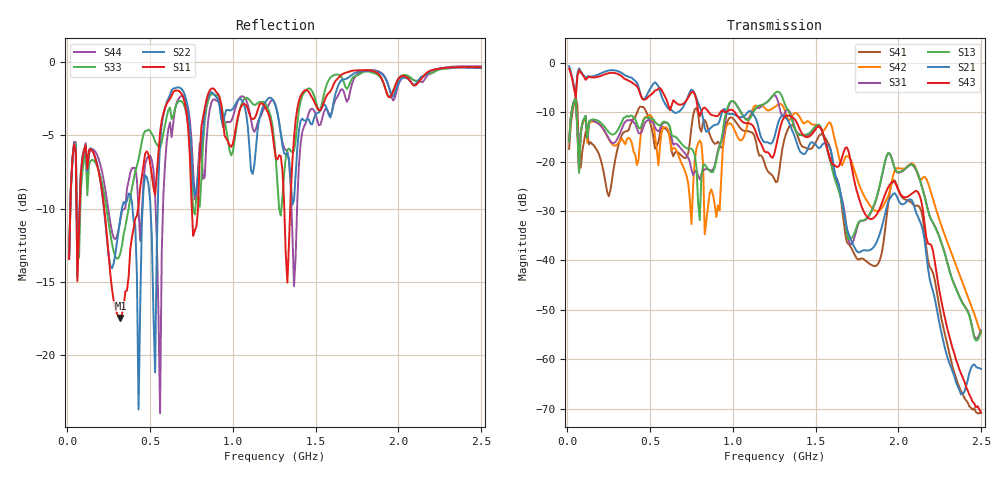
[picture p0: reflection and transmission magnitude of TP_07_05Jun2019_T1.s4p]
!Keysight Technologies,N5225A,MY55451604,A.10.60.03
!Date: Wednesday, June 05, 2019 16:55:11
!Correction: S11(Full 4 Port(1,2,3,4))
!S12(Full 4 Port(1,2,3,4))
!S13(Full 4 Port(1,2,3,4))
!S14(Full 4 Port(1,2,3,4))
!S21(Full 4 Port(1,2,3,4))
!S22(Full 4 Port(1,2,3,4))
!S23(Full 4 Port(1,2,3,4))
!S24(Full 4 Port(1,2,3,4))
!S31(Full 4 Port(1,2,3,4))
!S32(Full 4 Port(1,2,3,4))
!S33(Full 4 Port(1,2,3,4))
!S34(Full 4 Port(1,2,3,4))
!S41(Full 4 Port(1,2,3,4))
!S42(Full 4 Port(1,2,3,4))
!S43(Full 4 Port(1,2,3,4))
!S44(Full 4 Port(1,2,3,4))
!S4P File: Measurements: <S11,S12,S13,S14>,
!<S21,S22,S23,S24>,
!<S31,S32,S33,S34>,
!<S41,S42,S43,S44>:
# Hz S  dB  R 50
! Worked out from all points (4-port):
!   250 points, 10 MHz to 2.5 GHz, reference 50 ohm
!   strongest paths, dB at 10 MHz, 630 MHz, 1.26 GHz, 1.88 GHz, 2.5 GHz:
!     S43: -1.1, -8.6, -17.1, -30.1, -70.7
!     S21: -0.6, -9.6, -13.9, -35.4, -62.0
!     S13: -15.9, -14.6, -5.9, -25.9, -54.4
!     S31: -15.8, -15.2, -6.7, -26.1, -54.1
!     S42: -15.9, -17.7, -8.7, -30.0, -54.7
!     S41: -17.4, -17.9, -24.1, -40.6, -70.9
!   lowest |S11| = -17.4 dB at 320 MHz (marker M1), VSWR 1.31, Z = 39.8 + j6.54 ohm
!   |S11| at or under -10 dB: 222.1 MHz to 427 MHz (204.9 MHz wide, 63.1 % of centre); 752 MHz to 789.8 MHz (37.84 MHz wide, 4.91 % of centre); 1.311 GHz to 1.347 GHz (35.91 MHz wide, 2.7 % of centre)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
1e7  -13.44 57.7  -0.64 -19.9  -15.91 60.2  -17.41 -124.3
     -0.63 -19.9  -13.41 57.8  -17.55 -124.2  -15.87 60.2
     -15.83 60.2  -17.49 -124.4  -13.30 43.0  -1.14 -19.0
     -17.40 -124.3  -15.89 60.2  -1.14 -19.0  -13.17 43.6
1.7e8  -6.67 -85.5  -2.66 176.9  -11.50 -83.3  -16.60 -12.2
       -2.51 177.9  -6.58 -93.1  -16.66 -10.9  -11.91 -84.0
       -11.92 -83.6  -16.63 -8.1  -6.91 -81.0  -2.89 -178.7
       -17.24 -15.2  -11.97 -85.9  -2.89 -178.7  -6.16 -92.0
3.2e8  -17.45 143.1  -2.17 -1.0  -12.57 93.4  -14.84 -102.6
       -1.85 0.6  -10.63 13.4  -15.26 -102.0  -15.29 56.1
       -14.06 88.6  -14.30 -103.2  -13.05 132.5  -2.48 8.5
       -15.36 -96.6  -15.70 48.6  -2.47 8.5  -10.77 50.8
5.1e8  -7.71 -52.8  -4.96 161.4  -11.31 -71.5  -13.26 -12.6
       -4.69 163.5  -11.87 -85.4  -12.99 -11.6  -10.50 -66.6
       -11.88 -72.3  -12.63 -7.3  -4.91 -50.1  -6.29 180.0
       -13.26 -12.9  -10.93 -63.2  -6.28 179.9  -6.70 -82.8
8.3e8  -3.19 -97.0  -12.17 167.8  -20.56 -64.6  -13.29 38.2
       -13.13 160.9  -3.56 -95.0  -13.49 20.4  -27.52 96.7
       -21.54 -57.4  -13.24 17.5  -4.07 -86.5  -9.02 -157.8
       -11.52 36.6  -34.68 123.5  -9.03 -158.2  -7.88 -96.8
1.98e9  -1.73 159.4  -27.40 88.0  -21.46 -96.1  -24.01 -48.8
        -26.38 100.8  -2.17 157.2  -26.25 -55.3  -22.36 -61.6
        -21.54 -96.9  -26.06 -63.8  -1.69 160.2  -24.09 108.8
        -23.84 -47.6  -21.69 -52.4  -24.18 108.8  -2.44 154.9
2.5e9  -0.38 118.3  -61.16 14.8  -54.43 -22.1  -70.25 -157.4
       -61.96 21.5  -0.44 116.1  -54.19 20.8  -54.65 69.6
       -54.12 -21.2  -54.46 19.0  -0.36 117.7  -70.08 33.0
       -70.88 -153.8  -54.70 66.4  -70.73 31.1  -0.31 113.1
